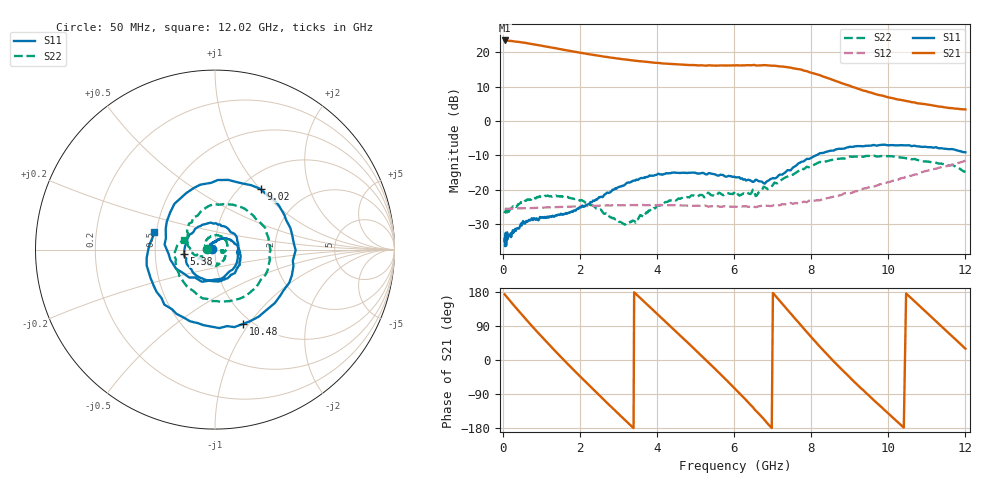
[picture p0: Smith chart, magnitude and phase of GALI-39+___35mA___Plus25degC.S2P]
! Mini-Circuits
! S2P DATA File Format
! Type: MMIC Amplifier
! Model: GALI-39  Reference Data:RDF-1232
! Note: All S Parameters are in dB deg format
! TEST CONDITIONS: INPUT POWER = -25dBm, Icc = 35mA, Vd = 3.61V @Temperature = +25degC
! 401 Frequency points
# MHz S DB R 50
!  FREQ  dB(S11)  PHS(S11)  dB(S21)  PHS(S21)  dB(S12)  PHS(S12)  dB(S22)  PHS(S22)
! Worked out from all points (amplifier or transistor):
!   401 points, 50 MHz to 12.02 GHz, reference 50 ohm
!   highest |S21| = 23.4 dB at 68 MHz (marker M1)
!   |S21| within 3 dB of that: start of sweep to 1.73 GHz
!   unconditionally stable (mu >= 1): start of sweep to end of sweep
!   at 965 MHz: K = 1.07, MAG = 22.0 dB, |S12| = -25.2 dB
!   at 3.31 GHz: K = 1.29, MAG = 17.8 dB, |S12| = -24.5 dB
!   at 12.02 GHz: K = 1.29, MAG = 4.2 dB, |S12| = -11.5 dB
!   S11 on the Smith chart (normalised r, x): 50 MHz: 0.96, +0.00; 5.38 GHz: 0.70, -0.04; 9.02 GHz: 1.22, +1.01; 10.48 GHz: 0.91, -0.94; 12.02 GHz: 0.49, +0.11
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50  -34.83 172.7  23.37 173.2  -25.48 -3.9  -26.79 175.2
68  -34.70 -176.2  23.43 171.0  -25.50 -4.9  -26.28 175.2
440  -30.84 165.4  22.96 126.4  -25.43 -29.2  -24.01 151.3
775  -28.49 136.4  22.36 88.0  -25.28 -52.0  -22.47 118.5
1105  -27.96 113.2  21.72 51.4  -25.14 -74.9  -21.71 86.0
1385  -27.39 97.2  21.16 21.5  -25.02 -94.4  -21.66 60.7
2050  -24.93 73.4  19.80 -47.4  -24.75 -142.3  -22.99 9.4
2525  -22.17 53.9  18.95 -94.7  -24.60 -177.1  -25.79 -15.2
3100  -18.84 18.3  18.00 -150.9  -24.47 139.0  -29.62 -19.9
3540  -16.91 -10.9  17.43 167.0  -24.46 104.7  -28.06 -5.0
4050  -15.31 -49.7  16.88 118.1  -24.42 63.7  -24.52 -21.5
4610  -15.10 -97.1  16.40 64.6  -24.54 16.2  -22.64 -44.9
5380  -15.13 -171.4  16.20 -10.0  -24.83 -51.5  -21.19 -91.9
6040  -16.33 112.7  16.16 -76.3  -24.87 -114.3  -21.29 -125.9
6500  -17.70 48.3  16.27 -124.7  -24.69 -160.9  -19.96 -146.4
6990  -16.71 -40.8  16.06 -179.6  -24.68 149.7  -18.98 -162.9
7540  -13.50 -132.5  15.35 115.9  -24.03 90.7  -15.59 157.1
8040  -10.52 157.2  13.99 57.8  -23.14 40.6  -12.96 111.2
9020  -7.48 53.1  10.26 -46.3  -21.00 -53.2  -10.33 23.8
10060  -7.03 -35.1  6.81 -145.2  -17.69 -146.9  -10.20 -57.6
10480  -7.08 -69.4  5.83 175.6  -16.23 174.9  -10.84 -87.9
12020  -9.08 164.1  3.39 29.9  -11.50 37.0  -14.82 162.8
